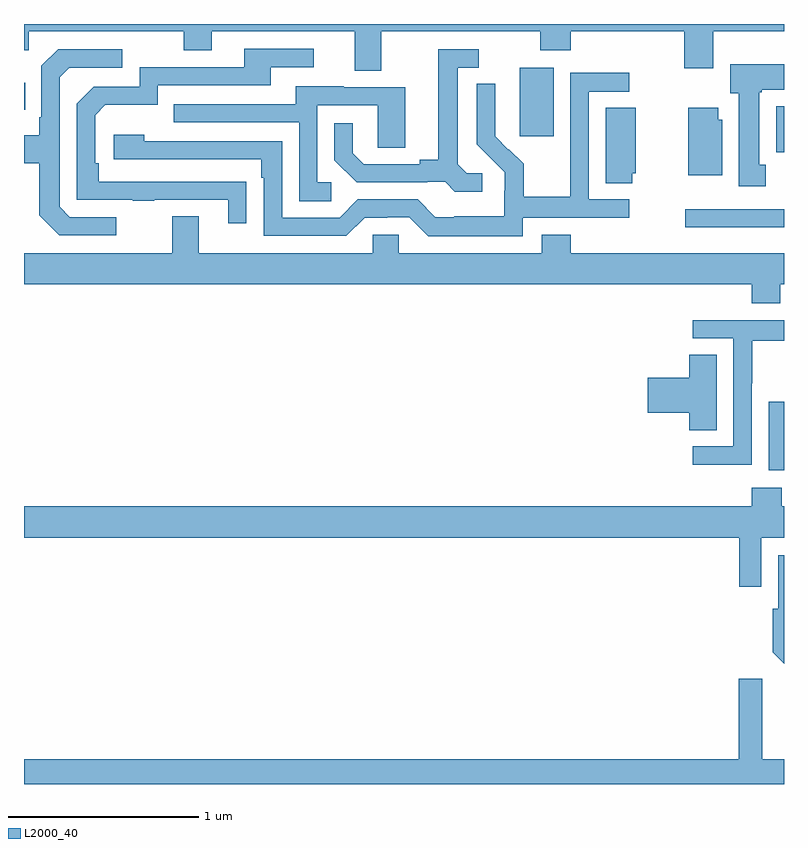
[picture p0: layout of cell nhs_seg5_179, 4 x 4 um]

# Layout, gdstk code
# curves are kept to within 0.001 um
import gdstk
lib = gdstk.Library(unit=1e-6, precision=1e-09)
def R(c, l, rs):  # rectangles x0, y0, x1, y1
    for r in rs: c.add(gdstk.rectangle(r[:2], r[2:], *l))
def P(c, l, *ps):  # polygons
    for p in ps: c.add(gdstk.Polygon(p, *l))
L2000_40 = (2000, 40)

nhs_seg5_179 = lib.new_cell('nhs_seg5_179')
R(nhs_seg5_179, L2000_40, [(124.919,854.45,125,854.811), (124.479,855.728,125,855.825), (124.958,856.124,125,856.366), (123.608,856.209,123.787,856.57), (121,856.349,121.007,856.489)])
P(nhs_seg5_179, L2000_40, [(122.881,856.76),(123.718,856.76),(123.718,856.661),(123.878,856.661),(123.878,856.76),(124.475,856.76),(124.475,856.566),(124.627,856.566),(124.627,856.76),(125,856.76),(125,856.799),(121,856.799),(121,856.661),(121.026,856.661),(121.026,856.76),(121.84,856.76),(121.84,856.661),(121.987,856.661),(121.987,856.76),(122.741,856.76),(122.741,856.552),(122.881,856.552)],
  [(122.171,855.968),(121.394,855.969),(121.394,856.066),(121.374,856.066),(121.374,856.32),(121.427,856.373),(121.704,856.373),(121.704,856.476),(122.299,856.476),(122.299,856.572),(122.524,856.572),(122.524,856.668),(122.159,856.668),(122.159,856.572),(121.608,856.572),(121.608,856.47),(121.368,856.47),(121.278,856.38),(121.278,855.873),(121.573,855.873),(121.573,855.868),(121.685,855.868),(121.685,855.873),(122.075,855.873),(122.075,855.75),(122.171,855.75)],
  [(121.486,855.783),(121.242,855.783),(121.188,855.837),(121.188,856.518),(121.239,856.569),(121.516,856.569),(121.516,856.665),(121.179,856.665),(121.092,856.578),(121.092,856.309),(121.08,856.309),(121.08,856.213),(121,856.213),(121,856.066),(121.08,856.066),(121.08,855.793),(121.185,855.687),(121.486,855.687)],
  [(123.412,856.014),(123.33,856.014),(123.283,856.061),(123.283,856.569),(123.394,856.569),(123.394,856.665),(123.179,856.665),(123.179,856.085),(123.083,856.085),(123.083,856.062),(122.788,856.062),(122.731,856.119),(122.731,856.276),(122.634,856.276),(122.634,856.082),(122.75,855.966),(123.122,855.966),(123.122,855.969),(123.216,855.969),(123.268,855.917),(123.412,855.917)],
  [(124.903,856.058),(124.87,856.058),(124.87,856.441),(124.884,856.441),(124.884,856.454),(125,856.454),(125,856.588),(124.718,856.588),(124.718,856.434),(124.763,856.434),(124.763,855.945),(124.903,855.945)],
  [(123.624,855.78),(124.186,855.78),(124.186,855.876),(123.972,855.876),(123.972,856.443),(124.186,856.443),(124.186,856.542),(123.876,856.542),(123.876,856.112),(123.874,856.112),(123.874,855.889),(123.629,855.889),(123.629,856.063),(123.552,856.14),(123.549,856.137),(123.479,856.208),(123.48,856.484),(123.384,856.484),(123.384,856.166),(123.53,856.018),(123.53,855.921),(123.528,855.921),(123.528,855.787),(123.265,855.787),(123.265,855.783),(123.165,855.783),(123.072,855.876),(122.757,855.876),(122.661,855.78),(122.358,855.78),(122.358,856.182),(121.634,856.182),(121.634,856.216),(121.473,856.216),(121.473,856.086),(122.249,856.086),(122.249,855.989),(122.262,855.989),(122.262,855.684),(122.697,855.684),(122.793,855.78),(122.912,855.78),(122.912,855.783),(123.027,855.783),(123.127,855.683),(123.624,855.683)],
  [(122.617,855.966),(122.544,855.966),(122.544,856.371),(122.862,856.371),(122.862,856.147),(123.007,856.147),(123.007,856.467),(122.683,856.467),(122.683,856.471),(122.429,856.471),(122.429,856.377),(121.789,856.377),(121.789,856.281),(122.448,856.281),(122.448,855.865),(122.617,855.865)],
  [(124.2,856.014),(124.219,856.014),(124.219,856.358),(124.061,856.358),(124.061,855.961),(124.2,855.961)],
  [(124.675,856.296),(124.654,856.296),(124.654,856.357),(124.496,856.357),(124.496,856.004),(124.675,856.004)],
  [(124.981,855.428),(125,855.428),(125,855.592),(123.878,855.592),(123.878,855.691),(123.725,855.691),(123.725,855.592),(122.973,855.592),(122.973,855.69),(122.835,855.69),(122.835,855.592),(121.921,855.592),(121.921,855.787),(121.781,855.787),(121.781,855.592),(121,855.592),(121,855.428),(124.829,855.428),(124.829,855.329),(124.981,855.329)],
  [(124.83,854.908),(124.833,854.908),(124.833,855.132),(125,855.132),(125,855.24),(124.521,855.24),(124.521,855.144),(124.734,855.144),(124.734,854.577),(124.521,854.577),(124.521,854.479),(124.83,854.479)],
  [(124.645,855.059),(124.502,855.059),(124.502,854.936),(124.284,854.936),(124.284,854.753),(124.502,854.753),(124.502,854.662),(124.645,854.662)],
  [(124.881,854.096),(125,854.096),(125,854.26),(124.989,854.26),(124.989,854.359),(124.829,854.359),(124.829,854.26),(121,854.26),(121,854.096),(124.765,854.096),(124.765,853.836),(124.881,853.836)],
  [(125,854.002),(124.97,854.002),(124.97,853.722),(124.94,853.722),(124.94,853.493),(125,853.433)],
  [(125,852.928),(124.885,852.928),(124.885,853.354),(124.763,853.354),(124.763,852.928),(121,852.928),(121,852.799),(125,852.799)])

lib.write_gds('nhs_seg5_179.gds')
